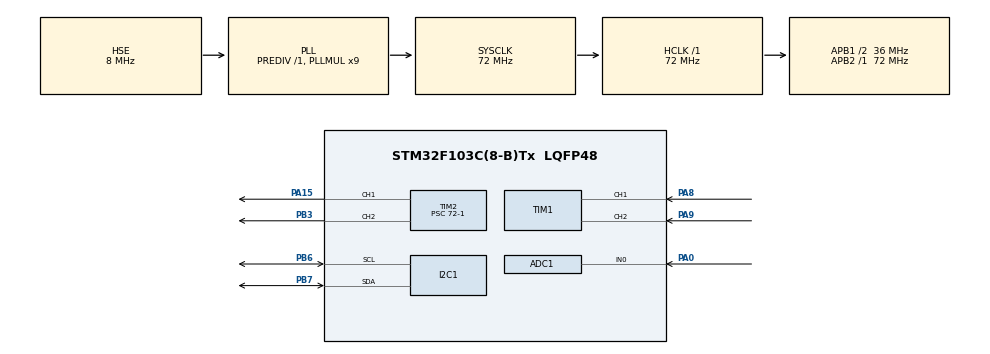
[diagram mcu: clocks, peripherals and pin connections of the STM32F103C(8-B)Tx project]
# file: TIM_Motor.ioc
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ADC1.Channel-0\#ChannelRegularConversion=ADC_CHANNEL_0
ADC1.NbrOfConversionFlag=1
ADC1.Rank-0\#ChannelRegularConversion=1
ADC1.SamplingTime-0\#ChannelRegularConversion=ADC_SAMPLETIME_55CYCLES_5
ADC1.master=1
Mcu.Family=STM32F1
Mcu.Name=STM32F103C(8-B)Tx
Mcu.Package=LQFP48
NVIC.PriorityGroup=NVIC_PRIORITYGROUP_4
PA0-WKUP.Signal=ADCx_IN0
PA13.Mode=Serial_Wire
PA13.Signal=SYS_JTMS-SWDIO
PA14.Mode=Serial_Wire
PA14.Signal=SYS_JTCK-SWCLK
PA15.Signal=S_TIM2_CH1_ETR
PA8.Signal=S_TIM1_CH1
PA9.Signal=S_TIM1_CH2
PB3.Signal=S_TIM2_CH2
PB6.Mode=I2C
PB6.Signal=I2C1_SCL
PB7.Mode=I2C
PB7.Signal=I2C1_SDA
PD0-OSC_IN.Mode=HSE-External-Oscillator
PD0-OSC_IN.Signal=RCC_OSC_IN
PD1-OSC_OUT.Mode=HSE-External-Oscillator
PD1-OSC_OUT.Signal=RCC_OSC_OUT
ProjectManager.HeapSize=0x200
ProjectManager.StackSize=0x400
ProjectManager.TargetToolchain=CMake
RCC.ADCPresc=RCC_ADCPCLK2_DIV6
RCC.AHBFreq_Value=72000000
RCC.APB1CLKDivider=RCC_HCLK_DIV2
RCC.APB1Freq_Value=36000000
RCC.APB1TimFreq_Value=72000000
RCC.APB2Freq_Value=72000000
RCC.APB2TimFreq_Value=72000000
RCC.HCLKFreq_Value=72000000
RCC.PLLMUL=RCC_PLL_MUL9
RCC.PLLSourceVirtual=RCC_PLLSOURCE_HSE
RCC.SYSCLKFreq_VALUE=72000000
RCC.SYSCLKSource=RCC_SYSCLKSOURCE_PLLCLK
RCC.USBFreq_Value=72000000
SH.ADCx_IN0.0=ADC1_IN0,IN0
SH.S_TIM1_CH1.0=TIM1_CH1,Encoder_Interface
SH.S_TIM1_CH2.0=TIM1_CH2,Encoder_Interface
SH.S_TIM2_CH1_ETR.0=TIM2_CH1,PWM Generation1 CH1
SH.S_TIM2_CH2.0=TIM2_CH2,PWM Generation2 CH2
TIM1.IC2Polarity=TIM_ICPOLARITY_FALLING
TIM2.Channel-PWM\ Generation1\ CH1=TIM_CHANNEL_1
TIM2.Channel-PWM\ Generation2\ CH2=TIM_CHANNEL_2
TIM2.Period=100-1
TIM2.Prescaler=72-1
VP_TIM2_VS_ClockSourceINT.Mode=Internal
board=custom

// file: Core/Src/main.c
/* USER CODE BEGIN Header */
/**
  ******************************************************************************
  * @file           : main.c
  * @brief          : Main program body
  ******************************************************************************
  * @attention
  *
  * Copyright (c) 2026 STMicroelectronics.
  * All rights reserved.
  *
  * This software is licensed under terms that can be found in the LICENSE file
  * in the root directory of this software component.
  * If no LICENSE file comes with this software, it is provided AS-IS.
  *
  ******************************************************************************
  */
/* USER CODE END Header */
#include "main.h"
#include "adc.h"
#include "tim.h"
#include "gpio.h"

/* USER CODE BEGIN Includes */
#include "i2c.h"      /* hi2c1、MX_I2C1_Init */
#include "oled.h"     /* OLED_NewFrame / OLED_ShowFrame 等绘图接口 */
#include "font.h"     /* afont8x6 / afont12x6 / afont24x12 三套 ASCII 字体 */
#include <stdio.h>    /* sprintf，把数字拼成字符串再画到屏上 */
/* USER CODE END Includes */

/* USER CODE BEGIN PD */
/* ---------------------------------------------------------------
 * TIM2: 72MHz / 72 = 1MHz，Period 100-1 → 1MHz / 100 = 10kHz
 *       10kHz 在人耳听觉范围之外，电机不会发出"嗡嗡"啸叫
 *       CH1 = PA15 → DRV8833 AIN1
 *       CH2 = PB3  → DRV8833 AIN2
 *
 * DRV8833 单向驱动规则（同一时刻只让一路出 PWM，另一路拉低）：
 *       AIN1 = PWM, AIN2 = 0   → 正转，占空比 = 转速
 *       AIN1 = 0,   AIN2 = PWM → 反转，占空比 = 转速
 *       两路都是 0             → 滑行（自由停转，慢慢停下来）
 *       两路都是 1             → 刹车（电机两端短接，立刻停）
 * --------------------------------------------------------------- */

/* 电位器中点。旋钮旋到中间时 ADC 大约是 2048，
   如果实测静止点不在中间（比如 2000 停不住、一直在爬行），把这个数改成实测值 */
#define KNOB_CENTER        2048
#define KNOB_FULL_SCALE    2048    /* 中点往一个方向的最大行程，用于换算百分比 */

#define ADC_AVG_N          8U      /* 每次读 8 次 ADC 取平均，压掉抖动 */
#define CTRL_PERIOD_MS     20U     /* 每 20ms 采一次、更新一次输出 */

/* 中点死区：|百分比| 小于 3 就当作 0（停止）。
   没有死区，旋钮停在中间时 ADC 在 2047/2049 之间抖，电机会慢慢爬行 */
#define DEADBAND_PCT       3U

/* 电机死区补偿：直流电机在低占空比下根本转不起来（只有电流声、不转）。
   所以只要不是 0 档，最低也给 25% —— 1% 的旋钮量对应 25% 占空比，
   100% 对应 100%，中间线性过渡。想要严格线性就把这里改成 0 */
#define DUTY_MIN           25U

/* 加速度限制：每 20ms 最多变化 5%，从 0 到满速约 0.4 秒。
   这样旋钮一转电机是"逐渐加快"而不是"啪一下"全速；
   反向时也会先减速到 0 再反向加速，不会瞬间反接电流冲击 */
#define SLEW_STEP          5

/* 屏幕刷新周期。整屏 1024 字节走 100kHz I2C 大约 95ms，
   所以屏幕必须比控制慢得多：20ms 控制电机、150ms 画一屏。
   如果两件事挤在一起，I2C 会把主循环堵住，电机变成一顿一顿的 */
#define UI_PERIOD_MS       150U
/* USER CODE END PD */

/* USER CODE BEGIN PV */
static int16_t  out_duty  = 0;    /* 当前实际输出 -100 ~ +100，正=前进 负=后退 */
static uint32_t ctrl_tick = 0U;   /* 上次采样的时刻 */
static uint16_t last_raw  = 0U;   /* 最近一次 ADC 原始值，只用于屏幕显示 */
static uint32_t ui_tick   = 0U;   /* 上次刷屏的时刻 */
/* USER CODE END PV */

void SystemClock_Config(void);

/* USER CODE BEGIN 0 */

/**
 * @brief  连续读 ADC_AVG_N 次取平均
 * @note   单次读数有 ±2~3 个字的抖动。旋钮停在中间时，2048/2050 的差别
 *         足以让电机慢慢爬行，取平均能压掉大部分。
 */
static uint16_t adc_read_avg(void)
{
  uint32_t sum = 0U;
  uint8_t  i;

  for (i = 0U; i < ADC_AVG_N; i++)
  {
    HAL_ADC_Start(&hadc1);
    if (HAL_ADC_PollForConversion(&hadc1, 10U) == HAL_OK)
    {
      sum += HAL_ADC_GetValue(&hadc1);
    }
    HAL_ADC_Stop(&hadc1);
  }

  return (uint16_t)(sum / ADC_AVG_N);
}

/**
 * @brief  旋钮原始值 0~4095 换算成有符号百分比 -100 ~ +100
 * @note   中点 2048 为 0；往一侧是正（前进），另一侧是负（后退）。
 *         中点附近留 DEADBAND_PCT 的死区，直接归 0。
 */
static int16_t knob_to_pct(uint16_t raw)
{
  int32_t offset = (int32_t)raw - (int32_t)KNOB_CENTER;
  int32_t pct    = offset * 100 / (int32_t)KNOB_FULL_SCALE;

  if (pct > 100)
  {
    pct = 100;
  }
  else if (pct < -100)
  {
    pct = -100;
  }

  if ((pct > -(int32_t)DEADBAND_PCT) && (pct < (int32_t)DEADBAND_PCT))
  {
    pct = 0;
  }

  return (int16_t)pct;
}

/**
 * @brief  百分比 -100~100 换算成实际占空比 -100~100（含死区补偿）
 * @note   0 档输出 0（停转）；非 0 档最低给 DUTY_MIN，再线性加到 100。
 */
static int16_t duty_from_pct(int16_t pct)
{
  int32_t mag;
  int32_t duty;

  if (pct == 0)
  {
    return 0;
  }

  mag  = (pct > 0) ? (int32_t)pct : -(int32_t)pct;
  duty = (int32_t)DUTY_MIN + mag * (100 - (int32_t)DUTY_MIN) / 100;

  return (int16_t)((pct > 0) ? duty : -duty);
}

/**
 * @brief  把带符号占空比写到 DRV8833 的两路输入
 * @note   同一时刻只有一路出 PWM，另一路固定低电平 —— DRV8833 靠这个判方向
 */
static void motor_apply(int16_t duty)
{
  if (duty > 0)
  {
    __HAL_TIM_SET_COMPARE(&htim2, TIM_CHANNEL_1, (uint32_t)duty);   /* AIN1 = PWM */
    __HAL_TIM_SET_COMPARE(&htim2, TIM_CHANNEL_2, 0U);              /* AIN2 = 0   */
  }
  else if (duty < 0)
  {
    __HAL_TIM_SET_COMPARE(&htim2, TIM_CHANNEL_1, 0U);              /* AIN1 = 0   */
    __HAL_TIM_SET_COMPARE(&htim2, TIM_CHANNEL_2, (uint32_t)(-duty)); /* AIN2 = PWM */
  }
  else
  {
    __HAL_TIM_SET_COMPARE(&htim2, TIM_CHANNEL_1, 0U);              /* 两路都 0：滑行 */
    __HAL_TIM_SET_COMPARE(&htim2, TIM_CHANNEL_2, 0U);
  }
}

/**
 * @brief  一次完整的「采样 -> 换算 -> 限速 -> 输出」
 * @note   out_duty 每 20ms 最多向目标靠近 SLEW_STEP。
 *         反向时它会先经过 0 再到负值，相当于自动先刹车再反转。
 */
static void motor_task(void)
{
  uint16_t raw    = adc_read_avg();
  int16_t  pct    = knob_to_pct(raw);
  int16_t  target = duty_from_pct(pct);

  last_raw = raw;   /* 留给屏幕显示 */
  if (out_duty < target)
  {
    out_duty += SLEW_STEP;
    if (out_duty > target)
    {
      out_duty = target;
    }
  }
  else if (out_duty > target)
  {
    out_duty -= SLEW_STEP;
    if (out_duty < target)
    {
      out_duty = target;
    }
  }

  motor_apply(out_duty);
}

/**
 * @brief  画一屏：标题 / 带符号占空比 / 方向 / 双向进度条 / ADC 原始值
 * @note   这里显示的是 out_duty（实际输出）而不是旋钮百分比，
 *         因为加速度限制会让两者短暂不同步，看实际输出更符合"电机现在多快"
 *         屏幕布局 128x64：
 *           y=0   小字标题
 *           y=14  24x12 大字数字（4 个字符 = 48 像素宽）
 *           y=20  右侧方向词
 *           y=39  进度条（中线为 0，向右正转、向左反转）
 *           y=53  小字显示 ADC
 */
static void ui_draw(void)
{
  char     buf[20];
  int16_t  duty = out_duty;
  uint8_t  mag  = (uint8_t)((duty >= 0) ? duty : -duty);   /* 取绝对值，条的长度 */
  uint8_t  bar;

  OLED_NewFrame();   /* 先在内存里清空一整帧，最后一次性推给屏幕 */

  /* 第 1 行：标题（12x6 字体，每字符 6 像素宽） */
  OLED_PrintASCIIString(0, 0, "KNOB -> MOTOR", &afont12x6, OLED_COLOR_NORMAL);

  /* 第 2 行：带符号的占空比。%+4d 对正数强制显示 '+'，
     0 的时候显示成 "0"，避免出现 "  +0" 这种别扭的样子 */
  if (duty > 0)
  {
    sprintf(buf, "%+4d", (int)duty);
  }
  else
  {
    sprintf(buf, "%4d", (int)duty);
  }
  OLED_PrintASCIIString(0, 14, buf, &afont24x12, OLED_COLOR_NORMAL);   /* 24 高 12 宽，4 字符占 x=0~47 */
  OLED_PrintASCIIString(52, 22, "%", &afont12x6, OLED_COLOR_NORMAL);   /* 百分号用小字挂在右边 */

  /* 方向词：FWD 正转 / REV 反转 / STOP 停转 */
  if (duty > 0)
  {
    OLED_PrintASCIIString(84, 22, "FWD", &afont12x6, OLED_COLOR_NORMAL);
  }
  else if (duty < 0)
  {
    OLED_PrintASCIIString(84, 22, "REV", &afont12x6, OLED_COLOR_NORMAL);
  }
  else
  {
    OLED_PrintASCIIString(78, 22, "STOP", &afont12x6, OLED_COLOR_NORMAL);
  }

  /* 第 3 行：双向进度条。中线 x=63 代表 0，往右填=正转，往左填=反转 */
  OLED_DrawRectangle(0, 39, 127, 11, OLED_COLOR_NORMAL);   /* 外框 w=127 表示画到 x=126 */
  OLED_DrawLine(63, 40, 63, 48, OLED_COLOR_NORMAL);        /* 中线标记 */

  bar = (uint8_t)((uint16_t)mag * 60U / 100U);             /* 半条最多 60 像素 */
  if (bar > 0U)
  {
    if (duty > 0)
    {
      OLED_DrawFilledRectangle(64, 41, bar, 7, OLED_COLOR_NORMAL);            /* 向右 */
    }
    else
    {
      OLED_DrawFilledRectangle((uint8_t)(63U - bar), 41, bar, 7, OLED_COLOR_NORMAL); /* 向左 */
    }
  }

  /* 第 4 行：ADC 原始值，调 KNOB_CENTER 时对着这个数看 */
  sprintf(buf, "ADC%4u", (unsigned)last_raw);
  OLED_PrintASCIIString(0, 53, buf, &afont8x6, OLED_COLOR_NORMAL);

  OLED_ShowFrame();  /* 整帧 1024 字节一次性写进屏幕，约 95ms */
}

/* USER CODE END 0 */

int main(void)
{

  /* MCU Configuration--------------------------------------------------------*/

  /* Reset of all peripherals, Initializes the Flash interface and the Systick. */
  HAL_Init();

  /* Configure the system clock */
  SystemClock_Config();

  /* Initialize all configured peripherals */
  MX_GPIO_Init();
  MX_ADC1_Init();
  MX_I2C1_Init();
  MX_TIM1_Init();
  MX_TIM2_Init();
  /* USER CODE BEGIN 2 */
  /* 启动前先把两路比较值清零：CCR 默认就是 0，但显式写一遍更保险，
     避免上电瞬间输出一个意料之外的占空比让电机抽一下 */
  __HAL_TIM_SET_COMPARE(&htim2, TIM_CHANNEL_1, 0U);
  __HAL_TIM_SET_COMPARE(&htim2, TIM_CHANNEL_2, 0U);
  HAL_TIM_PWM_Start(&htim2, TIM_CHANNEL_1);
  HAL_TIM_PWM_Start(&htim2, TIM_CHANNEL_2);

  /* 先跑一次，让输出和旋钮当前位置一致 */
  motor_task();
  ctrl_tick = HAL_GetTick();

  /* OLED 的上电复位比 MCU 慢，等 20ms 再发初始化指令，
     否则第一批命令会被屏里的驱动芯片当成噪声丢掉，屏幕全黑 */
  HAL_Delay(20);
  OLED_Init();

  /* 把"上次刷屏时刻"往回拨一个周期，让第一帧立刻画出来
     （无符号减法自动回绕，不用担心下溢） */
  ui_tick = HAL_GetTick() - UI_PERIOD_MS;
  ui_draw();
  /* USER CODE END 2 */

  /* Infinite loop */
  while (1)
  {

    /* USER CODE BEGIN 3 */
    /* 每 20ms 采一次旋钮。不用 HAL_Delay，主循环保持可响应。 */
    if ((HAL_GetTick() - ctrl_tick) >= CTRL_PERIOD_MS)
    {
      ctrl_tick = HAL_GetTick();
      motor_task();
    }

    /* 每 150ms 刷一次屏。刷屏是阻塞的（约 95ms 全在等 I2C），
       所以必须和控制分开计时，否则电机速度会被刷屏拖成锯齿 */
    if ((HAL_GetTick() - ui_tick) >= UI_PERIOD_MS)
    {
      ui_tick = HAL_GetTick();
      ui_draw();
    }
  }
  /* USER CODE END 3 */
}

void SystemClock_Config(void)
{
  RCC_OscInitTypeDef RCC_OscInitStruct = {0};
  RCC_ClkInitTypeDef RCC_ClkInitStruct = {0};
  RCC_PeriphCLKInitTypeDef PeriphClkInit = {0};

  /** Initializes the RCC Oscillators according to the specified parameters
  * in the RCC_OscInitTypeDef structure.
  */
  RCC_OscInitStruct.OscillatorType = RCC_OSCILLATORTYPE_HSE;
  RCC_OscInitStruct.HSEState = RCC_HSE_ON;
  RCC_OscInitStruct.HSEPredivValue = RCC_HSE_PREDIV_DIV1;
  RCC_OscInitStruct.HSIState = RCC_HSI_ON;
  RCC_OscInitStruct.PLL.PLLState = RCC_PLL_ON;
  RCC_OscInitStruct.PLL.PLLSource = RCC_PLLSOURCE_HSE;
  RCC_OscInitStruct.PLL.PLLMUL = RCC_PLL_MUL9;
  if (HAL_RCC_OscConfig(&RCC_OscInitStruct) != HAL_OK)
  {
    Error_Handler();
  }

  /** Initializes the CPU, AHB and APB buses clocks
  */
  RCC_ClkInitStruct.ClockType = RCC_CLOCKTYPE_HCLK|RCC_CLOCKTYPE_SYSCLK
                              |RCC_CLOCKTYPE_PCLK1|RCC_CLOCKTYPE_PCLK2;
  RCC_ClkInitStruct.SYSCLKSource = RCC_SYSCLKSOURCE_PLLCLK;
  RCC_ClkInitStruct.AHBCLKDivider = RCC_SYSCLK_DIV1;
  RCC_ClkInitStruct.APB1CLKDivider = RCC_HCLK_DIV2;
  RCC_ClkInitStruct.APB2CLKDivider = RCC_HCLK_DIV1;

  if (HAL_RCC_ClockConfig(&RCC_ClkInitStruct, FLASH_LATENCY_2) != HAL_OK)
  {
    Error_Handler();
  }
  PeriphClkInit.PeriphClockSelection = RCC_PERIPHCLK_ADC;
  PeriphClkInit.AdcClockSelection = RCC_ADCPCLK2_DIV6;
  if (HAL_RCCEx_PeriphCLKConfig(&PeriphClkInit) != HAL_OK)
  {
    Error_Handler();
  }
}

void Error_Handler(void)
{
  __disable_irq();
  while (1)
  {
  }
}
